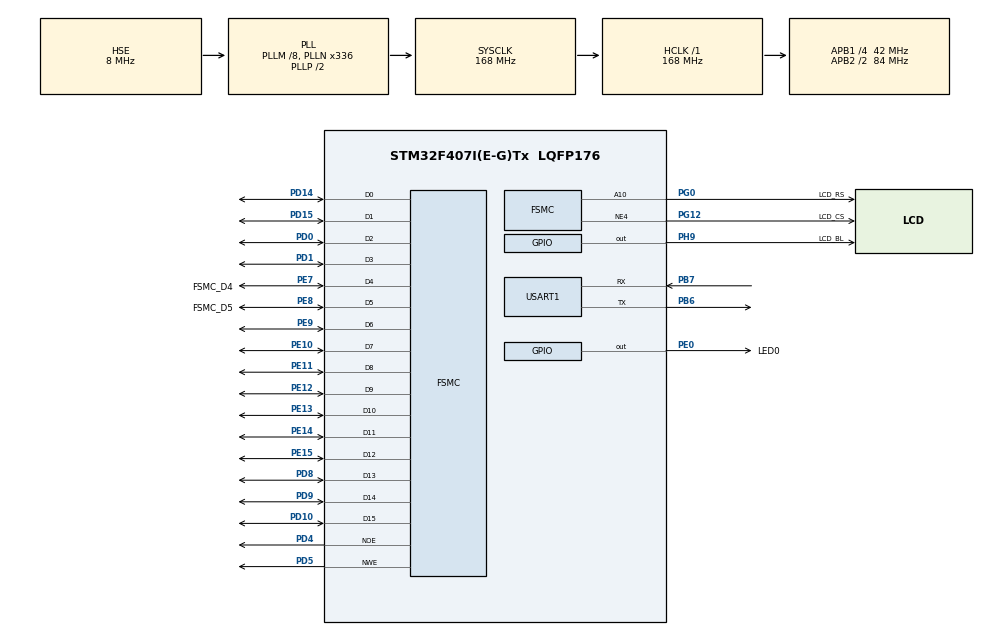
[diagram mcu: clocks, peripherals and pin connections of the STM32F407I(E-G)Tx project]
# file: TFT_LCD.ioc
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FSMC.ExtendedMode1=FSMC_EXTENDED_MODE_ENABLE
Mcu.Family=STM32F4
Mcu.Name=STM32F407I(E-G)Tx
Mcu.Package=LQFP176
NVIC.PriorityGroup=NVIC_PRIORITYGROUP_4
PA13.Mode=Serial_Wire
PA13.Signal=SYS_JTMS-SWDIO
PA14.Mode=Serial_Wire
PA14.Signal=SYS_JTCK-SWCLK
PB6.Mode=Asynchronous
PB6.Signal=USART1_TX
PB7.Mode=Asynchronous
PB7.Signal=USART1_RX
PD0.Signal=FSMC_D2_DA2
PD1.Signal=FSMC_D3_DA3
PD10.Signal=FSMC_D15_DA15
PD14.Signal=FSMC_D0_DA0
PD15.Signal=FSMC_D1_DA1
PD4.Signal=FSMC_NOE
PD5.Signal=FSMC_NWE
PD8.Signal=FSMC_D13_DA13
PD9.Signal=FSMC_D14_DA14
PE0.GPIO_Label=LED0
PE0.GPIO_ModeDefaultOutputPP=GPIO_MODE_OUTPUT_PP
PE0.GPIO_PuPd=GPIO_NOPULL
PE0.GPIO_Speed=GPIO_SPEED_FREQ_LOW
PE0.PinState=GPIO_PIN_RESET
PE0.Signal=GPIO_Output
PE10.Signal=FSMC_D7_DA7
PE11.Signal=FSMC_D8_DA8
PE12.Signal=FSMC_D9_DA9
PE13.Signal=FSMC_D10_DA10
PE14.Signal=FSMC_D11_DA11
PE15.Signal=FSMC_D12_DA12
PE7.GPIO_Label=FSMC_D4
PE7.GPIO_PuPd=GPIO_PULLUP
PE7.Signal=FSMC_D4_DA4
PE8.GPIO_Label=FSMC_D5
PE8.GPIO_PuPd=GPIO_PULLUP
PE8.Signal=FSMC_D5_DA5
PE9.Signal=FSMC_D6_DA6
PG0.GPIO_Label=LCD_RS
PG0.GPIO_PuPd=GPIO_PULLUP
PG0.Signal=FSMC_A10
PG12.GPIO_Label=LCD_CS
PG12.GPIO_PuPd=GPIO_PULLUP
PG12.Mode=NorPsramChipSelect4_1
PG12.Signal=FSMC_NE4
PH0-OSC_IN.Mode=HSE-External-Oscillator
PH0-OSC_IN.Signal=RCC_OSC_IN
PH1-OSC_OUT.Mode=HSE-External-Oscillator
PH1-OSC_OUT.Signal=RCC_OSC_OUT
PH9.GPIO_Label=LCD_BL
PH9.GPIO_ModeDefaultOutputPP=GPIO_MODE_OUTPUT_PP
PH9.GPIO_PuPd=GPIO_PULLUP
PH9.GPIO_Speed=GPIO_SPEED_FREQ_HIGH
PH9.PinState=GPIO_PIN_SET
PH9.Signal=GPIO_Output
ProjectManager.HeapSize=0x200
ProjectManager.StackSize=0x400
ProjectManager.TargetToolchain=MDK-ARM V5
RCC.48MHZClocksFreq_Value=84000000
RCC.AHBFreq_Value=168000000
RCC.APB1CLKDivider=RCC_HCLK_DIV4
RCC.APB1Freq_Value=42000000
RCC.APB1TimFreq_Value=84000000
RCC.APB2CLKDivider=RCC_HCLK_DIV2
RCC.APB2Freq_Value=84000000
RCC.APB2TimFreq_Value=168000000
RCC.CortexFreq_Value=168000000
RCC.HCLKFreq_Value=168000000
RCC.HSE_VALUE=8000000
RCC.HSI_VALUE=16000000
RCC.LSE_VALUE=32768
RCC.PLLM=8
RCC.PLLN=336
RCC.PLLSourceVirtual=RCC_PLLSOURCE_HSE
RCC.SYSCLKFreq_VALUE=168000000
RCC.SYSCLKSource=RCC_SYSCLKSOURCE_PLLCLK
RCC.VCOOutputFreq_Value=336000000
SH.FSMC_A10.0=FSMC_A10,A10_1
SH.FSMC_D0_DA0.0=FSMC_D0,16b-d1
SH.FSMC_D10_DA10.0=FSMC_D10,16b-d1
SH.FSMC_D11_DA11.0=FSMC_D11,16b-d1
SH.FSMC_D12_DA12.0=FSMC_D12,16b-d1
SH.FSMC_D13_DA13.0=FSMC_D13,16b-d1
SH.FSMC_D14_DA14.0=FSMC_D14,16b-d1
SH.FSMC_D15_DA15.0=FSMC_D15,16b-d1
SH.FSMC_D1_DA1.0=FSMC_D1,16b-d1
SH.FSMC_D2_DA2.0=FSMC_D2,16b-d1
SH.FSMC_D3_DA3.0=FSMC_D3,16b-d1
SH.FSMC_D4_DA4.0=FSMC_D4,16b-d1
SH.FSMC_D5_DA5.0=FSMC_D5,16b-d1
SH.FSMC_D6_DA6.0=FSMC_D6,16b-d1
SH.FSMC_D7_DA7.0=FSMC_D7,16b-d1
SH.FSMC_D8_DA8.0=FSMC_D8,16b-d1
SH.FSMC_D9_DA9.0=FSMC_D9,16b-d1
SH.FSMC_NOE.0=FSMC_NOE,Lcd1
SH.FSMC_NWE.0=FSMC_NWE,Lcd1
USART1.VirtualMode=VM_ASYNC
board=TFT_LCD

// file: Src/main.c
/* USER CODE BEGIN Header */
/**
  ******************************************************************************
  * @file           : main.c
  * @brief          : Main program body
  ******************************************************************************
  * @attention
  *
  * Copyright (c) 2024 STMicroelectronics.
  * All rights reserved.
  *
  * This software is licensed under terms that can be found in the LICENSE file
  * in the root directory of this software component.
  * If no LICENSE file comes with this software, it is provided AS-IS.
  *
  ******************************************************************************
  */
/* USER CODE END Header */
#include "main.h"
#include "usart.h"
#include "gpio.h"
#include "fsmc.h"

/* USER CODE BEGIN Includes */
//# include "font.h"
# include "lcd.h"
/* USER CODE END Includes */

/* USER CODE BEGIN PV */
/* Private variables ---------------------------------------------------------*/

/* USER CODE END PV */

void SystemClock_Config(void);
/* USER CODE BEGIN PFP */
/* Private function prototypes -----------------------------------------------*/
void LED0_TOGGLE(void){
	/*PE0 -> LED0*/
	/*翻转LED0状态*/
	HAL_GPIO_TogglePin(GPIOE, GPIO_PIN_0);  /*反转GPIOE->GPIO_PIN_2状态， 函数实际是对GPIOx->ODR与GPIO_PIN_2异或从而实现状态翻转的 */
}
/* USER CODE END PFP */

int main(void)
{

  /* USER CODE BEGIN 1 */
	uint8_t x = 0;   //color
	uint8_t lcd_id[16];  //id

	uint8_t str0[6] = "STM32";
	uint8_t str1[12] = "TFTLCD TEST";
	uint8_t str2[14] = "ATOM@ALIENTEK";

  /* USER CODE END 1 */

  /* MCU Configuration--------------------------------------------------------*/

  /* Reset of all peripherals, Initializes the Flash interface and the Systick. */
  HAL_Init();

  /* Configure the system clock */
  SystemClock_Config();

  /* Initialize all configured peripherals */
  MX_GPIO_Init();
  MX_USART1_UART_Init();
  MX_FSMC_Init();
  /* USER CODE BEGIN 2 */
	printf("TFT-LCD Test!\n");
	lcd_init(); /* 初始化LCD */
	sprintf((char *)lcd_id, "LCD ID:%04X", lcddev.id); /* 将id打印到lcd_id数组 */
	//printf("LCD ID:%04X", lcddev.id);
  /* USER CODE END 2 */

  /* Infinite loop */
  /* USER CODE BEGIN WHILE */
  while (1)
  {
		switch (x) {
			case 0: lcd_clear(WHITE);break;
			case 1: lcd_clear(BLACK);break;
			case 2: lcd_clear(BLUE);break;
			case 3: lcd_clear(RED);	break;
			case 4: lcd_clear(MAGENTA);break;
			case 5: lcd_clear(GREEN);break;
			case 6: lcd_clear(CYAN); break;
			case 7: lcd_clear(YELLOW); break;
			case 8: lcd_clear(BRRED); break;
			case 9: lcd_clear(GRAY); break;
			case 10: lcd_clear(LGRAY); break;
			case 11: lcd_clear(BROWN); break;
		}
		//LCD_ShowString(10, 40, 240, 32, 32, str0);
		//LCD_ShowString(10, 80, 240, 24, 24, str1);
		//LCD_ShowString(10, 110, 240, 16, 16, str2);
		//LCD_ShowString(10, 130, 240, 16, 16, (uint8_t *)lcd_id); /*显示LCD_ID*/
		x++;
		if (x == 12) { x = 0; }
		LED0_TOGGLE(); /* LED0闪烁 */
		HAL_Delay(1000);

    /* USER CODE END WHILE */

  }
}

void SystemClock_Config(void)
{
  RCC_OscInitTypeDef RCC_OscInitStruct = {0};
  RCC_ClkInitTypeDef RCC_ClkInitStruct = {0};

  /** Configure the main internal regulator output voltage
  */
  __HAL_RCC_PWR_CLK_ENABLE();
  __HAL_PWR_VOLTAGESCALING_CONFIG(PWR_REGULATOR_VOLTAGE_SCALE1);

  /** Initializes the RCC Oscillators according to the specified parameters
  * in the RCC_OscInitTypeDef structure.
  */
  RCC_OscInitStruct.OscillatorType = RCC_OSCILLATORTYPE_HSE;
  RCC_OscInitStruct.HSEState = RCC_HSE_ON;
  RCC_OscInitStruct.PLL.PLLState = RCC_PLL_ON;
  RCC_OscInitStruct.PLL.PLLSource = RCC_PLLSOURCE_HSE;
  RCC_OscInitStruct.PLL.PLLM = 8;
  RCC_OscInitStruct.PLL.PLLN = 336;
  RCC_OscInitStruct.PLL.PLLP = RCC_PLLP_DIV2;
  RCC_OscInitStruct.PLL.PLLQ = 4;
  if (HAL_RCC_OscConfig(&RCC_OscInitStruct) != HAL_OK)
  {
    Error_Handler();
  }

  /** Initializes the CPU, AHB and APB buses clocks
  */
  RCC_ClkInitStruct.ClockType = RCC_CLOCKTYPE_HCLK|RCC_CLOCKTYPE_SYSCLK
                              |RCC_CLOCKTYPE_PCLK1|RCC_CLOCKTYPE_PCLK2;
  RCC_ClkInitStruct.SYSCLKSource = RCC_SYSCLKSOURCE_PLLCLK;
  RCC_ClkInitStruct.AHBCLKDivider = RCC_SYSCLK_DIV1;
  RCC_ClkInitStruct.APB1CLKDivider = RCC_HCLK_DIV4;
  RCC_ClkInitStruct.APB2CLKDivider = RCC_HCLK_DIV2;

  if (HAL_RCC_ClockConfig(&RCC_ClkInitStruct, FLASH_LATENCY_5) != HAL_OK)
  {
    Error_Handler();
  }
}

void Error_Handler(void)
{
  while(1)
  {
  }
}
